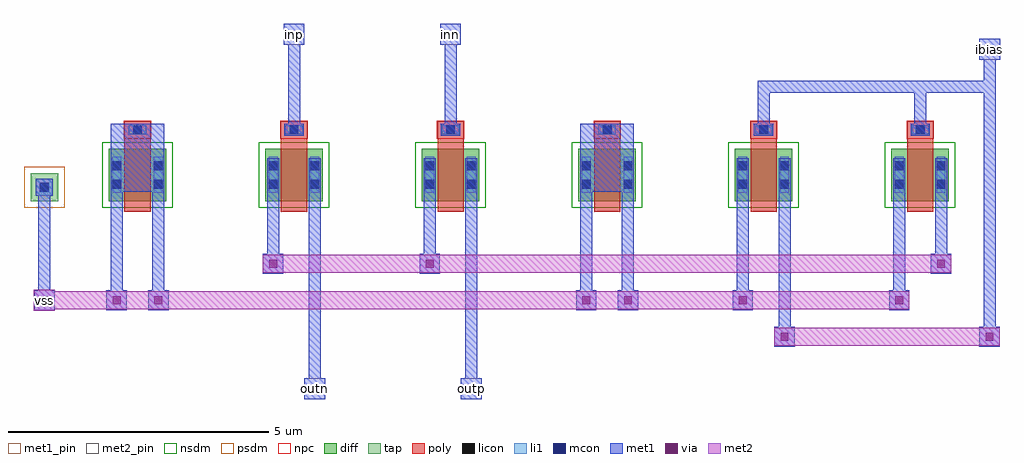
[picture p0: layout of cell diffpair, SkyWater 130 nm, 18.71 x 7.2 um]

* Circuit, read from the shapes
.subckt diffpair ibias inn inp outn outp vss
XM1 vss vss vss vss sky130_fd_pr__nfet_01v8 w=1 l=0.5 m=2
XM2 outn inp n1 vss sky130_fd_pr__nfet_01v8 w=1 l=0.5
XM3 outp inn n1 vss sky130_fd_pr__nfet_01v8 w=1 l=0.5
XM4 ibias ibias vss vss sky130_fd_pr__nfet_01v8 w=1 l=0.5
XM5 n1 ibias vss vss sky130_fd_pr__nfet_01v8 w=1 l=0.5
.ends

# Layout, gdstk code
import gdstk
lib = gdstk.Library(unit=1e-6, precision=1e-09)
def R(c, l, rs):  # rectangles x0, y0, x1, y1
    for r in rs: c.add(gdstk.rectangle(r[:2], r[2:], *l))
def A(c, l, x, y, w, h, nx, ny, dx, dy):  # array of equal rectangles
    R(c, l, [(x+i*dx, y+j*dy, x+i*dx+w, y+j*dy+h) for i in range(nx) for j in range(ny)])
diff = (65, 20)
tap = (65, 44)
poly = (66, 20)
licon = (66, 44)
li1 = (67, 20)
mcon = (67, 44)
met1_pin = (68, 16)
met1 = (68, 20)
via = (68, 44)
met2_pin = (69, 16)
met2 = (69, 20)
nsdm = (93, 44)
psdm = (94, 20)
npc = (95, 20)

diffpair = lib.new_cell('diffpair')
A(diffpair, diff, 0, 0, 1.1, 1, 6, 1, 3, 0)
R(diffpair, tap, [(-1.5,0,-0.97,0.53)])
A(diffpair, poly, 0.3, -0.2, 0.5, 1.4, 6, 1, 3, 0)
A(diffpair, poly, 0.3, 1.2, 0.5, 0.33, 6, 1, 3, 0)
A(diffpair, licon, 0.465, 1.28, 0.17, 0.17, 6, 1, 3, 0)
R(diffpair, licon, [(-1.32,0.18,-1.15,0.35), (0.065,0.235,0.235,0.405), (0.865,0.235,1.035,0.405), (3.065,0.235,3.235,0.405), (3.865,0.235,4.035,0.405), (6.065,0.235,6.235,0.405), (6.865,0.235,7.035,0.405), (9.065,0.235,9.235,0.405), (9.865,0.235,10.035,0.405), (12.065,0.235,12.235,0.405), (12.865,0.235,13.035,0.405), (15.065,0.235,15.235,0.405), (15.865,0.235,16.035,0.405), (0.065,0.595,0.235,0.765), (0.865,0.595,1.035,0.765), (3.065,0.595,3.235,0.765), (3.865,0.595,4.035,0.765), (6.065,0.595,6.235,0.765), (6.865,0.595,7.035,0.765), (9.065,0.595,9.235,0.765), (9.865,0.595,10.035,0.765), (12.065,0.595,12.235,0.765), (12.865,0.595,13.035,0.765), (15.065,0.595,15.235,0.765), (15.865,0.595,16.035,0.765)])
A(diffpair, li1, 0.385, 1.28, 0.33, 0.17, 6, 1, 3, 0)
R(diffpair, li1, [(-1.4,0.1,-1.07,0.43), (0.065,0.155,0.235,0.845), (0.865,0.155,1.035,0.845), (3.065,0.155,3.235,0.845), (3.865,0.155,4.035,0.845), (6.065,0.155,6.235,0.845), (6.865,0.155,7.035,0.845), (9.065,0.155,9.235,0.845), (9.865,0.155,10.035,0.845), (12.065,0.155,12.235,0.845), (12.865,0.155,13.035,0.845), (15.065,0.155,15.235,0.845), (15.865,0.155,16.035,0.845)])
A(diffpair, mcon, 0.465, 1.28, 0.17, 0.17, 6, 1, 3, 0)
R(diffpair, mcon, [(-1.32,0.18,-1.15,0.35), (0.065,0.235,0.235,0.405), (0.865,0.235,1.035,0.405), (3.065,0.235,3.235,0.405), (3.865,0.235,4.035,0.405), (6.065,0.235,6.235,0.405), (6.865,0.235,7.035,0.405), (9.065,0.235,9.235,0.405), (9.865,0.235,10.035,0.405), (12.065,0.235,12.235,0.405), (12.865,0.235,13.035,0.405), (15.065,0.235,15.235,0.405), (15.865,0.235,16.035,0.405), (0.065,0.595,0.235,0.765), (0.865,0.595,1.035,0.765), (3.065,0.595,3.235,0.765), (3.865,0.595,4.035,0.765), (6.065,0.595,6.235,0.765), (6.865,0.595,7.035,0.765), (9.065,0.595,9.235,0.765), (9.865,0.595,10.035,0.765), (12.065,0.595,12.235,0.765), (12.865,0.595,13.035,0.765), (15.065,0.595,15.235,0.765), (15.865,0.595,16.035,0.765)])
R(diffpair, met1_pin, [(3.75,-3.8,4.15,-3.4), (6.75,-3.8,7.15,-3.4), (16.68,2.71,17.08,3.11), (3.35,3,3.75,3.4), (6.35,3,6.75,3.4)])
A(diffpair, met1, 0.365, 1.25, 0.37, 0.23, 6, 1, 3, 0)
R(diffpair, met1, [(3.75,-3.8,4.15,-3.4), (6.75,-3.8,7.15,-3.4), (3.835,-3.6,4.065,0.175), (6.835,-3.6,7.065,-2.9), (6.835,-2.9,7.065,0.175), (12.755,-2.795,13.145,-2.405), (16.685,-2.795,17.075,-2.405), (12.835,-2.6,13.065,0.175), (16.765,-2.6,16.995,2.31), (-1.43,-2.095,-1.04,-1.705), (-0.045,-2.095,0.345,-1.705), (0.755,-2.095,1.145,-1.705), (8.955,-2.095,9.345,-1.705), (9.755,-2.095,10.145,-1.705), (11.955,-2.095,12.345,-1.705), (14.955,-2.095,15.345,-1.705), (-1.35,-1.9,-1.12,0.1), (0.035,-1.9,0.265,0.175), (0.835,-1.9,1.065,0.175), (9.035,-1.9,9.265,0.175), (9.835,-1.9,10.065,0.175), (12.035,-1.9,12.265,0.175), (15.035,-1.9,15.265,0.175), (2.955,-1.395,3.345,-1.005), (5.955,-1.395,6.345,-1.005), (15.755,-1.395,16.145,-1.005), (3.035,-1.2,3.265,0.175), (6.035,-1.2,6.265,0.175), (15.835,-1.2,16.065,0.175), (-1.4,0.1,-1.07,0.43), (0.035,0.175,0.265,0.825), (0.035,0.175,1.065,1.48), (0.835,0.175,1.065,0.825), (3.035,0.175,3.265,0.825), (3.835,0.175,4.065,0.825), (6.035,0.175,6.265,0.825), (6.835,0.175,7.065,0.825), (9.035,0.175,9.265,0.825), (9.035,0.175,10.065,1.48), (9.835,0.175,10.065,0.825), (12.035,0.175,12.265,0.825), (12.835,0.175,13.065,0.825), (15.035,0.175,15.265,0.825), (15.835,0.175,16.065,0.825), (3.435,1.48,3.665,3.2), (6.435,1.48,6.665,3.2), (12.435,1.48,12.665,2.31), (15.435,1.48,15.665,2.31), (12.435,2.08,16.995,2.31), (16.765,2.08,16.995,2.91), (16.68,2.71,17.08,3.11), (3.35,3,3.75,3.4), (6.35,3,6.75,3.4)])
R(diffpair, via, [(12.875,-2.675,13.025,-2.525), (16.805,-2.675,16.955,-2.525), (-1.31,-1.975,-1.16,-1.825), (0.075,-1.975,0.225,-1.825), (0.875,-1.975,1.025,-1.825), (9.075,-1.975,9.225,-1.825), (9.875,-1.975,10.025,-1.825), (12.075,-1.975,12.225,-1.825), (15.075,-1.975,15.225,-1.825), (3.075,-1.275,3.225,-1.125), (6.075,-1.275,6.225,-1.125), (15.875,-1.275,16.025,-1.125)])
R(diffpair, met2_pin, [(-1.435,-2.1,-1.035,-1.7)])
R(diffpair, met2, [(12.755,-2.775,17.075,-2.425), (-1.435,-2.1,-1.035,-1.7), (-1.43,-2.075,12.345,-1.725), (12.15,-2.075,15.15,-1.725), (14.955,-2.075,15.345,-1.725), (2.955,-1.375,16.145,-1.025)])
A(diffpair, nsdm, -0.125, -0.125, 1.35, 1.25, 6, 1, 3, 0)
R(diffpair, psdm, [(-1.625,-0.125,-0.845,0.655)])
A(diffpair, npc, 0.29, 1.19, 0.52, 0.35, 6, 1, 3, 0)
diffpair.add(gdstk.Label('inp', (3.55,3.2), layer=68, texttype=5))
diffpair.add(gdstk.Label('outn', (3.95,-3.6), layer=68, texttype=5))
diffpair.add(gdstk.Label('inn', (6.55,3.2), layer=68, texttype=5))
diffpair.add(gdstk.Label('outp', (6.95,-3.6), layer=68, texttype=5))
diffpair.add(gdstk.Label('ibias', (16.88,2.91), layer=68, texttype=5))
diffpair.add(gdstk.Label('vss', (-1.235,-1.9), layer=69, texttype=5))

lib.write_gds('diffpair.gds')
